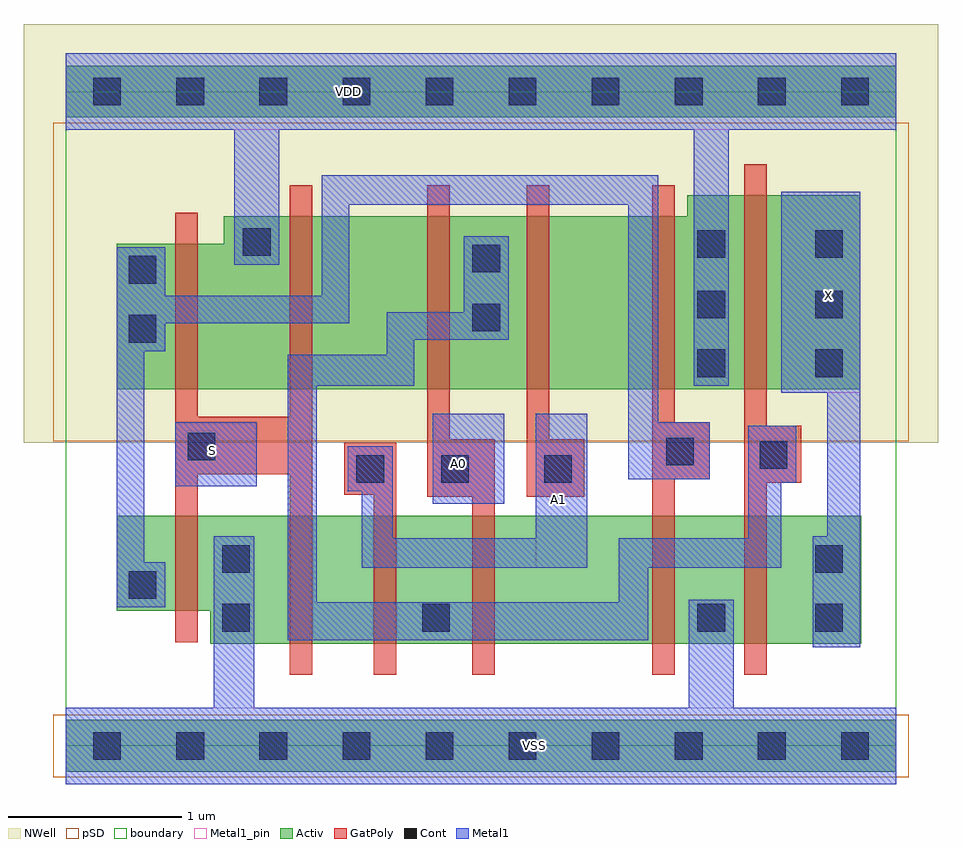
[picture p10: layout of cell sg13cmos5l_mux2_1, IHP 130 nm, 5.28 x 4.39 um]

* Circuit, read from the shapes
.subckt sg13cmos5l_mux2_1 A0 A1 S VDD VSS X
XM1 VSS S n1 VSS sg13_lv_nmos w=0.55u l=0.13u
XM2 n2 S VSS VSS sg13_lv_nmos w=0.74u l=0.13u
XM3 n3 A1 n2 VSS sg13_lv_nmos w=0.74u l=0.13u
XM4 n4 A0 n3 VSS sg13_lv_nmos w=0.74u l=0.13u
XM5 VSS n1 n4 VSS sg13_lv_nmos w=0.74u l=0.13u
XM6 X n3 VSS VSS sg13_lv_nmos w=0.74u l=0.13u
XM7 VDD S n1 VDD sg13_lv_pmos w=0.84u l=0.13u
XM8 n5 S VDD VDD sg13_lv_pmos w=1u l=0.13u
XM9 n3 A0 n5 VDD sg13_lv_pmos w=1u l=0.13u
XM10 n6 A1 n3 VDD sg13_lv_pmos w=1u l=0.13u
XM11 VDD n1 n6 VDD sg13_lv_pmos w=1u l=0.13u
XM12 X n3 VDD VDD sg13_lv_pmos w=1.12u l=0.13u
.ends

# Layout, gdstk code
import gdstk
lib = gdstk.Library(unit=1e-6, precision=1e-09)
def R(c, l, rs):  # rectangles x0, y0, x1, y1
    for r in rs: c.add(gdstk.rectangle(r[:2], r[2:], *l))
def P(c, l, *ps):  # polygons
    for p in ps: c.add(gdstk.Polygon(p, *l))
Activ = (1, 0)
GatPoly = (5, 0)
Cont = (6, 0)
Metal1 = (8, 0)
Metal1_pin = (8, 2)
pSD = (14, 0)
NWell = (31, 0)
boundary = (189, 4)

sg13cmos5l_mux2_1 = lib.new_cell('sg13cmos5l_mux2_1')
R(sg13cmos5l_mux2_1, Activ, [(0,-0.15,4.8,0.15), (0,3.63,4.8,3.93)])
P(sg13cmos5l_mux2_1, Activ, [(0.295,2.06),(0.295,2.9),(0.915,2.9),(0.915,3.06),(3.59,3.06),(3.59,3.18),(4.59,3.18),(4.59,2.06)],
  [(0.835,0.59),(0.835,0.78),(0.295,0.78),(0.295,1.33),(4.595,1.33),(4.595,0.59)])
P(sg13cmos5l_mux2_1, GatPoly, [(1.295,0.41),(1.295,1.57),(0.765,1.57),(0.765,0.6),(0.635,0.6),(0.635,3.08),(0.765,3.08),(0.765,1.9),(1.295,1.9),(1.295,3.24),(1.425,3.24),(1.425,0.41)],
  [(3.92,0.41),(3.92,3.36),(4.05,3.36),(4.05,1.85),(4.25,1.85),(4.25,1.52),(4.05,1.52),(4.05,0.41)],
  [(3.39,0.41),(3.39,3.24),(3.52,3.24),(3.52,1.87),(3.72,1.87),(3.72,1.54),(3.52,1.54),(3.52,0.41)],
  [(2.665,1.44),(2.665,3.24),(2.795,3.24),(2.795,1.77),(2.995,1.77),(2.995,1.44)],
  [(2.35,0.41),(2.35,1.44),(2.09,1.44),(2.09,3.24),(2.22,3.24),(2.22,1.77),(2.48,1.77),(2.48,0.41)],
  [(1.78,0.41),(1.78,1.45),(1.61,1.45),(1.61,1.75),(1.91,1.75),(1.91,0.41)])
R(sg13cmos5l_mux2_1, Cont, [(0.16,-0.08,0.32,0.08), (0.16,-0.08,0.32,0.08), (0.64,-0.08,0.8,0.08), (0.64,-0.08,0.8,0.08), (1.12,-0.08,1.28,0.08), (1.12,-0.08,1.28,0.08), (1.6,-0.08,1.76,0.08), (1.6,-0.08,1.76,0.08), (2.08,-0.08,2.24,0.08), (2.08,-0.08,2.24,0.08), (2.56,-0.08,2.72,0.08), (2.56,-0.08,2.72,0.08), (3.04,-0.08,3.2,0.08), (3.04,-0.08,3.2,0.08), (3.52,-0.08,3.68,0.08), (3.52,-0.08,3.68,0.08), (4,-0.08,4.16,0.08), (4,-0.08,4.16,0.08), (4.48,-0.08,4.64,0.08), (4.48,-0.08,4.64,0.08), (0.905,0.66,1.065,0.82), (2.06,0.66,2.22,0.82), (3.65,0.66,3.81,0.82), (4.33,0.66,4.49,0.82), (0.365,0.85,0.525,1.01), (0.905,1,1.065,1.16), (4.33,1,4.49,1.16), (1.68,1.52,1.84,1.68), (2.17,1.52,2.33,1.68), (2.765,1.52,2.925,1.68), (4.01,1.6,4.17,1.76), (3.47,1.62,3.63,1.78), (0.705,1.65,0.865,1.81), (3.65,2.13,3.81,2.29), (4.33,2.13,4.49,2.29), (0.365,2.33,0.525,2.49), (2.35,2.395,2.51,2.555), (3.65,2.47,3.81,2.63), (4.33,2.47,4.49,2.63), (0.365,2.67,0.525,2.83), (2.35,2.735,2.51,2.895), (3.65,2.82,3.81,2.98), (4.33,2.82,4.49,2.98), (1.025,2.83,1.185,2.99), (0.16,3.7,0.32,3.86), (0.16,3.7,0.32,3.86), (0.64,3.7,0.8,3.86), (0.64,3.7,0.8,3.86), (1.12,3.7,1.28,3.86), (1.12,3.7,1.28,3.86), (1.6,3.7,1.76,3.86), (1.6,3.7,1.76,3.86), (2.08,3.7,2.24,3.86), (2.08,3.7,2.24,3.86), (2.56,3.7,2.72,3.86), (2.56,3.7,2.72,3.86), (3.04,3.7,3.2,3.86), (3.04,3.7,3.2,3.86), (3.52,3.7,3.68,3.86), (3.52,3.7,3.68,3.86), (4,3.7,4.16,3.86), (4,3.7,4.16,3.86), (4.48,3.7,4.64,3.86), (4.48,3.7,4.64,3.86)])
R(sg13cmos5l_mux2_1, Metal1, [(2.12,1.4,2.535,1.92), (0.635,1.5,1.105,1.87)])
P(sg13cmos5l_mux2_1, Metal1, [(0,-0.22),(0,0.22),(0.855,0.22),(0.855,1.21),(1.09,1.21),(1.09,0.22),(3.6,0.22),(3.6,0.845),(3.86,0.845),(3.86,0.22),(4.8,0.22),(4.8,-0.22)],
  [(3.63,2.08),(3.63,3.56),(1.235,3.56),(1.235,2.78),(0.975,2.78),(0.975,3.56),(0,3.56),(0,4),(4.8,4),(4.8,3.56),(3.83,3.56),(3.83,2.08)],
  [(4.315,0.57),(4.315,1.21),(4.4,1.21),(4.4,2.04),(4.135,2.04),(4.135,3.2),(4.59,3.2),(4.59,0.57)],
  [(0.295,0.8),(0.295,2.88),(0.575,2.88),(0.575,2.6),(1.48,2.6),(1.48,3.295),(3.425,3.295),(3.425,1.87),(3.72,1.87),(3.72,1.54),(3.25,1.54),(3.25,3.125),(1.64,3.125),(1.64,2.44),(0.575,2.44),(0.575,2.28),(0.455,2.28),(0.455,1.06),(0.575,1.06),(0.575,0.8)],
  [(1.71,1.03),(1.71,1.47),(1.63,1.47),(1.63,1.73),(1.89,1.73),(1.89,1.2),(2.715,1.2),(2.715,1.92),(3.015,1.92),(3.015,1.03)],
  [(1.285,0.61),(1.285,2.26),(1.855,2.26),(1.855,2.505),(2.3,2.505),(2.3,2.945),(2.56,2.945),(2.56,2.345),(2.015,2.345),(2.015,2.08),(1.45,2.08),(1.45,0.83),(3.195,0.83),(3.195,1.2),(3.945,1.2),(3.945,1.85),(4.22,1.85),(4.22,1.52),(4.135,1.52),(4.135,1.03),(3.365,1.03),(3.365,0.61)])
R(sg13cmos5l_mux2_1, Metal1_pin, [(0,-0.22,4.8,0.22), (2.715,1.03,3.015,1.92), (2.12,1.4,2.535,1.92), (0.635,1.5,1.105,1.87), (4.135,2.04,4.59,3.2), (0,3.56,4.8,4)])
R(sg13cmos5l_mux2_1, pSD, [(-0.07,-0.18,4.87,0.18), (-0.07,1.76,4.87,3.6)])
R(sg13cmos5l_mux2_1, NWell, [(-0.24,1.75,5.04,4.17)])
R(sg13cmos5l_mux2_1, boundary, [(0,0,4.8,3.78)])
sg13cmos5l_mux2_1.add(gdstk.Label('A1', (2.85,1.425), layer=8, texttype=25))
sg13cmos5l_mux2_1.add(gdstk.Label('X', (4.405,2.6), layer=8, texttype=25))
sg13cmos5l_mux2_1.add(gdstk.Label('S', (0.85,1.705), layer=8, texttype=25))
sg13cmos5l_mux2_1.add(gdstk.Label('VDD', (1.635,3.78), layer=8, texttype=25))
sg13cmos5l_mux2_1.add(gdstk.Label('VSS', (2.71,0), layer=8, texttype=25))
sg13cmos5l_mux2_1.add(gdstk.Label('A0', (2.27,1.63), layer=8, texttype=25))

lib.write_gds('sg13cmos5l_mux2_1.gds')
